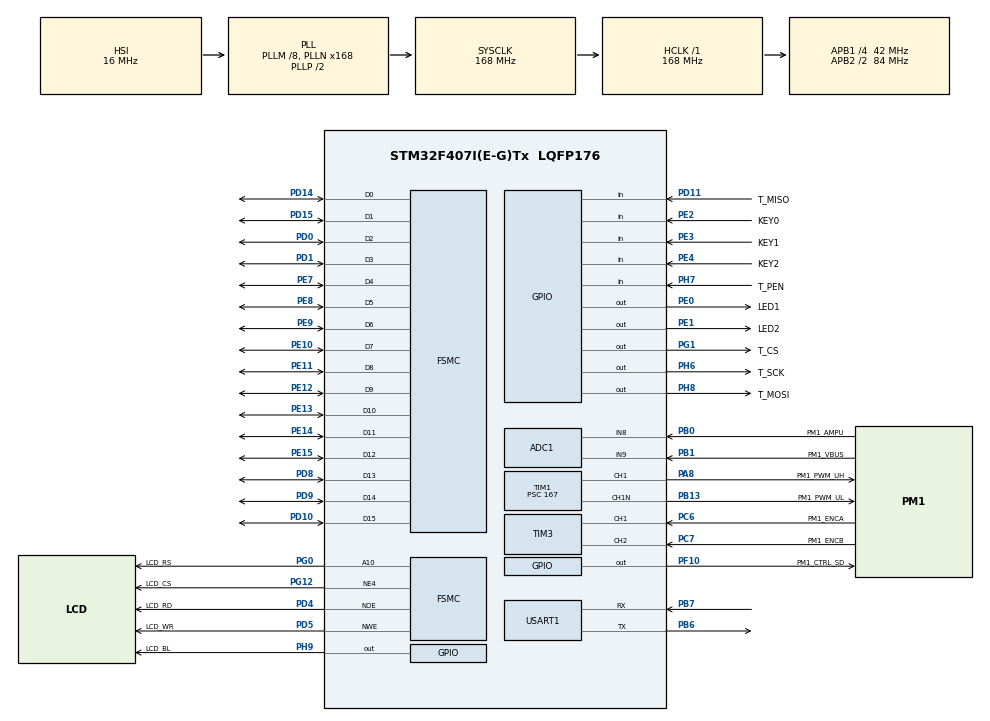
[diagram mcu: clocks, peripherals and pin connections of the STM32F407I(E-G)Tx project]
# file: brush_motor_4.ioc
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ADC1.Channel-0\#ChannelRegularConversion=ADC_CHANNEL_8
ADC1.Channel-1\#ChannelRegularConversion=ADC_CHANNEL_9
ADC1.ContinuousConvMode=ENABLE
ADC1.DMAContinuousRequests=ENABLE
ADC1.NbrOfConversion=2
ADC1.NbrOfConversionFlag=1
ADC1.Rank-0\#ChannelRegularConversion=1
ADC1.Rank-1\#ChannelRegularConversion=2
ADC1.SamplingTime-0\#ChannelRegularConversion=ADC_SAMPLETIME_480CYCLES
ADC1.SamplingTime-1\#ChannelRegularConversion=ADC_SAMPLETIME_480CYCLES
ADC1.ScanConvMode=ENABLE
ADC1.master=1
Dma.ADC1.0.Direction=DMA_PERIPH_TO_MEMORY
Dma.ADC1.0.FIFOMode=DMA_FIFOMODE_DISABLE
Dma.ADC1.0.Instance=DMA2_Stream0
Dma.ADC1.0.MemDataAlignment=DMA_MDATAALIGN_HALFWORD
Dma.ADC1.0.MemInc=DMA_MINC_ENABLE
Dma.ADC1.0.Mode=DMA_CIRCULAR
Dma.ADC1.0.PeriphDataAlignment=DMA_PDATAALIGN_HALFWORD
Dma.ADC1.0.PeriphInc=DMA_PINC_DISABLE
Dma.ADC1.0.Priority=DMA_PRIORITY_MEDIUM
Dma.Request0=ADC1
FSMC.AccessMode4=FSMC_ACCESS_MODE_A
FSMC.AddressSetupTime4=2
FSMC.BusTurnAroundDuration4=0
FSMC.DataSetupTime4=5
FSMC.ExtendedAccessMode4=FSMC_ACCESS_MODE_A
FSMC.ExtendedAddressSetupTime4=0
FSMC.ExtendedBusTurnAroundDuration4=0
FSMC.ExtendedDataSetupTime4=255
FSMC.ExtendedMode4=FSMC_EXTENDED_MODE_ENABLE
FSMC.NSBank4=FSMC_NORSRAM_BANK4
FSMC.WriteOperation4=FSMC_WRITE_OPERATION_ENABLE
Mcu.Family=STM32F4
Mcu.Name=STM32F407I(E-G)Tx
Mcu.Package=LQFP176
NVIC.ADC_IRQn=true\:2\:0\:true\:false\:true\:true\:true\:true
NVIC.DMA2_Stream0_IRQn=true\:0\:0\:false\:false\:true\:false\:true\:true
NVIC.PriorityGroup=NVIC_PRIORITYGROUP_4
NVIC.TIM3_IRQn=true\:2\:0\:true\:false\:true\:true\:true\:true
NVIC.TIM6_DAC_IRQn=true\:3\:0\:true\:false\:true\:true\:true\:true
PA13.Mode=Serial_Wire
PA13.Signal=SYS_JTMS-SWDIO
PA14.Mode=Serial_Wire
PA14.Signal=SYS_JTCK-SWCLK
PA8.GPIO_Label=PM1_PWM_UH
PA8.GPIO_PuPd=GPIO_PULLDOWN
PA8.GPIO_Speed=GPIO_SPEED_FREQ_HIGH
PA8.Signal=S_TIM1_CH1
PB0.GPIO_Label=PM1_AMPU
PB0.Signal=ADCx_IN8
PB1.GPIO_Label=PM1_VBUS
PB1.Signal=ADCx_IN9
PB13.GPIO_Label=PM1_PWM_UL
PB13.GPIO_PuPd=GPIO_PULLUP
PB13.GPIO_Speed=GPIO_SPEED_FREQ_HIGH
PB13.Mode=PWM Generation1 CH1 CH1N
PB13.Signal=TIM1_CH1N
PB6.Mode=Asynchronous
PB6.Signal=USART1_TX
PB7.Mode=Asynchronous
PB7.Signal=USART1_RX
PC14-OSC32_IN.Mode=LSE-External-Oscillator
PC14-OSC32_IN.Signal=RCC_OSC32_IN
PC15-OSC32_OUT.Mode=LSE-External-Oscillator
PC15-OSC32_OUT.Signal=RCC_OSC32_OUT
PC6.GPIO_Label=PM1_ENCA
PC6.GPIO_Speed=GPIO_SPEED_FREQ_HIGH
PC6.Signal=S_TIM3_CH1
PC7.GPIO_Label=PM1_ENCB
PC7.GPIO_Speed=GPIO_SPEED_FREQ_HIGH
PC7.Signal=S_TIM3_CH2
PD0.GPIO_PuPd=GPIO_PULLUP
PD0.Signal=FSMC_D2_DA2
PD1.GPIO_PuPd=GPIO_PULLUP
PD1.Signal=FSMC_D3_DA3
PD10.GPIO_PuPd=GPIO_PULLUP
PD10.Signal=FSMC_D15_DA15
PD11.GPIO_Label=T_MISO
PD11.Signal=GPIO_Input
PD14.GPIO_PuPd=GPIO_PULLUP
PD14.Signal=FSMC_D0_DA0
PD15.GPIO_PuPd=GPIO_PULLUP
PD15.Signal=FSMC_D1_DA1
PD4.GPIO_Label=LCD_RD
PD4.GPIO_PuPd=GPIO_PULLUP
PD4.Signal=FSMC_NOE
PD5.GPIO_Label=LCD_WR
PD5.GPIO_PuPd=GPIO_PULLUP
PD5.Signal=FSMC_NWE
PD8.GPIO_PuPd=GPIO_PULLUP
PD8.Signal=FSMC_D13_DA13
PD9.GPIO_PuPd=GPIO_PULLUP
PD9.Signal=FSMC_D14_DA14
PE0.GPIO_Label=LED1
PE0.PinState=GPIO_PIN_SET
PE0.Signal=GPIO_Output
PE1.GPIO_Label=LED2
PE1.PinState=GPIO_PIN_SET
PE1.Signal=GPIO_Output
PE10.GPIO_PuPd=GPIO_PULLUP
PE10.Signal=FSMC_D7_DA7
PE11.GPIO_PuPd=GPIO_PULLUP
PE11.Signal=FSMC_D8_DA8
PE12.GPIO_PuPd=GPIO_PULLUP
PE12.Signal=FSMC_D9_DA9
PE13.GPIO_PuPd=GPIO_PULLUP
PE13.Signal=FSMC_D10_DA10
PE14.GPIO_PuPd=GPIO_PULLUP
PE14.Signal=FSMC_D11_DA11
PE15.GPIO_PuPd=GPIO_PULLUP
PE15.Signal=FSMC_D12_DA12
PE2.GPIO_Label=KEY0
PE2.GPIO_PuPd=GPIO_PULLUP
PE2.Signal=GPIO_Input
PE3.GPIO_Label=KEY1
PE3.GPIO_PuPd=GPIO_PULLUP
PE3.Signal=GPIO_Input
PE4.GPIO_Label=KEY2
PE4.GPIO_PuPd=GPIO_PULLUP
PE4.Signal=GPIO_Input
PE7.GPIO_PuPd=GPIO_PULLUP
PE7.Signal=FSMC_D4_DA4
PE8.GPIO_PuPd=GPIO_PULLUP
PE8.Signal=FSMC_D5_DA5
PE9.GPIO_PuPd=GPIO_PULLUP
PE9.Signal=FSMC_D6_DA6
PF10.GPIO_Label=PM1_CTRL_SD
PF10.Signal=GPIO_Output
PG0.GPIO_Label=LCD_RS
PG0.GPIO_PuPd=GPIO_PULLUP
PG0.Signal=FSMC_A10
PG1.GPIO_Label=T_CS
PG1.Signal=GPIO_Output
PG12.GPIO_Label=LCD_CS
PG12.GPIO_PuPd=GPIO_PULLUP
PG12.Mode=NorPsramChipSelect4_4
PG12.Signal=FSMC_NE4
PH0-OSC_IN.Mode=HSE-External-Oscillator
PH0-OSC_IN.Signal=RCC_OSC_IN
PH1-OSC_OUT.Mode=HSE-External-Oscillator
PH1-OSC_OUT.Signal=RCC_OSC_OUT
PH6.GPIO_Label=T_SCK
PH6.Signal=GPIO_Output
PH7.GPIO_Label=T_PEN
PH7.Signal=GPIO_Input
PH8.GPIO_Label=T_MOSI
PH8.Signal=GPIO_Output
PH9.GPIO_Label=LCD_BL
PH9.Signal=GPIO_Output
ProjectManager.HeapSize=0x200
ProjectManager.StackSize=0x400
ProjectManager.TargetToolchain=MDK-ARM V5.27
RCC.48MHZClocksFreq_Value=84000000
RCC.AHBFreq_Value=168000000
RCC.APB1CLKDivider=RCC_HCLK_DIV4
RCC.APB1Freq_Value=42000000
RCC.APB1TimFreq_Value=84000000
RCC.APB2CLKDivider=RCC_HCLK_DIV2
RCC.APB2Freq_Value=84000000
RCC.APB2TimFreq_Value=168000000
RCC.CortexFreq_Value=168000000
RCC.FLatency=FLASH_LATENCY_5
RCC.HCLKFreq_Value=168000000
RCC.HSE_VALUE=25000000
RCC.HSI_VALUE=16000000
RCC.PLLM=8
RCC.PLLN=168
RCC.SYSCLKFreq_VALUE=168000000
RCC.SYSCLKSource=RCC_SYSCLKSOURCE_PLLCLK
RCC.VCOOutputFreq_Value=336000000
SH.ADCx_IN8.0=ADC1_IN8,IN8
SH.ADCx_IN9.0=ADC1_IN9,IN9
SH.FSMC_A10.0=FSMC_A10,A10_4
SH.FSMC_D0_DA0.0=FSMC_D0,16b-d4
SH.FSMC_D10_DA10.0=FSMC_D10,16b-d4
SH.FSMC_D11_DA11.0=FSMC_D11,16b-d4
SH.FSMC_D12_DA12.0=FSMC_D12,16b-d4
SH.FSMC_D13_DA13.0=FSMC_D13,16b-d4
SH.FSMC_D14_DA14.0=FSMC_D14,16b-d4
SH.FSMC_D15_DA15.0=FSMC_D15,16b-d4
SH.FSMC_D1_DA1.0=FSMC_D1,16b-d4
SH.FSMC_D2_DA2.0=FSMC_D2,16b-d4
SH.FSMC_D3_DA3.0=FSMC_D3,16b-d4
SH.FSMC_D4_DA4.0=FSMC_D4,16b-d4
SH.FSMC_D5_DA5.0=FSMC_D5,16b-d4
SH.FSMC_D6_DA6.0=FSMC_D6,16b-d4
SH.FSMC_D7_DA7.0=FSMC_D7,16b-d4
SH.FSMC_D8_DA8.0=FSMC_D8,16b-d4
SH.FSMC_D9_DA9.0=FSMC_D9,16b-d4
SH.FSMC_NOE.0=FSMC_NOE,Lcd4
SH.FSMC_NWE.0=FSMC_NWE,Lcd4
SH.S_TIM1_CH1.0=TIM1_CH1,PWM Generation1 CH1 CH1N
SH.S_TIM3_CH1.0=TIM3_CH1,Encoder_Interface
SH.S_TIM3_CH2.0=TIM3_CH2,Encoder_Interface
TIM1.Channel-PWM\ Generation1\ CH1\ CH1N=TIM_CHANNEL_1
TIM1.Period=999
TIM1.Prescaler=167
TIM3.EncoderMode=TIM_ENCODERMODE_TI12
TIM3.IC1Filter=0
TIM3.IC2Filter=0
TIM6.Period=999
TIM6.Prescaler=8399
USART1.VirtualMode=VM_ASYNC
VP_TIM1_VS_ClockSourceINT.Mode=Internal
VP_TIM6_VS_ClockSourceINT.Mode=Enable_Timer
board=custom

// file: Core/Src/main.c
/* USER CODE BEGIN Header */
/**
 ******************************************************************************
 * @file           : main.c
 * @brief          : Main program body
 ******************************************************************************
 * @attention
 *
 * Copyright (c) 2025 STMicroelectronics.
 * All rights reserved.
 *
 * This software is licensed under terms that can be found in the LICENSE file
 * in the root directory of this software component.
 * If no LICENSE file comes with this software, it is provided AS-IS.
 *
 ******************************************************************************
 */
/* USER CODE END Header */
#include "main.h"
#include "adc.h"
#include "dma.h"
#include "tim.h"
#include "usart.h"
#include "gpio.h"
#include "fsmc.h"

/* USER CODE BEGIN Includes */
#include <stdlib.h>
#include <stdio.h>
#include "bsp_lcd.h"
#include "bsp_key_led.h"
#include "bsp_brush_motor.h"
#include "bsp_encoder.h"
#include "bsp_current_sensor.h"
#include "bsp_voltage_sensor.h"
/* USER CODE END Includes */

/* USER CODE BEGIN PV */
// BrushMotorConfig pm2_motor = {
//     .htim = &htim8, // 使用TIM8作为电机控制定时器
//     .tim_channel = TIM_CHANNEL_1, // 使用通道1
//     .tim_arr = 1000,              // 自动重装载值，假设为1000
//     .sd_port = PM2_SD_GPIO_Port,  //
//     .sd_pin = PM2_SD_Pin          //
// };
BrushMotorConfig pm1_motor = {
    .htim = &htim1,                   // 使用TIM1作为电机控制定时器
    .tim_channel = TIM_CHANNEL_1,     // 使用通道1
    .tim_arr = 1000,                  // 自动重装载值，假设为1000
    .sd_port = PM1_CTRL_SD_GPIO_Port, // GPIOF
    .sd_pin = PM1_CTRL_SD_Pin         // PF10
};

// 电流传感器校准相关
static uint8_t current_calibrated = 0; // 校准完成标记（0：未校准，1：已校准）
static uint8_t calibrate_request = 0;  // 校准请求（0：无请求，1：需要校准）

extern uint16_t adc_raw_data[ADC_TOTAL_SAMPLES];    // 原始ADC采样值（单通道×采样次数）
extern float adc_filtered_data[ADC_CHANNEL_NUM];    // 滤波后的ADC平均值（浮点型）
/* USER CODE END PV */

void SystemClock_Config(void);

int main(void)
{

  /* MCU Configuration--------------------------------------------------------*/

  /* Reset of all peripherals, Initializes the Flash interface and the Systick. */
  HAL_Init();

  /* Configure the system clock */
  SystemClock_Config();

  /* Initialize all configured peripherals */
  MX_GPIO_Init();
  MX_DMA_Init();
  MX_FSMC_Init();
  MX_TIM1_Init();
  MX_TIM3_Init();
  MX_TIM6_Init();
  MX_USART1_UART_Init();
  MX_ADC1_Init();
  /* USER CODE BEGIN 2 */
  DWT_Init(); // 初始化DWT

  Key_Init();
  Led_Init();
  lcd_init();

  lcd_show_string(100, 10, 300, 32, 32, "Dr.GAO-Motor-1", RED);
  lcd_show_string(10, 60, 450, 24, 24, "Chap08: Brushed_Motor_Sensing", BLUE);

  BSP_Encoder_Init(); // 初始化编码器模块
  // 根据实际使用的编码器进行启动
  BSP_Encoder_Start(ENCODER_PM1); // 启动PM1编码器
  BrushMotor_Init(&pm1_motor);
  BSP_Encoder_Start(ENCODER_PM1); // 若编码器计数停止，启动编码器
  HAL_ADC_Start_DMA(&hadc1, (uint32_t*)adc_raw_data, ADC_TOTAL_SAMPLES); // 启动ADC1的DMA采集
  BSP_CurrentSensor_Init();
  BSP_VoltageSensor_Init();
  HAL_TIM_Base_Start_IT(&htim6); // 启动定时器6中断，用于更新EnCoder、电流采样等信息
  /* USER CODE END 2 */

  /* Infinite loop */
  /* USER CODE BEGIN WHILE */
  KeyPressedID key_id = KEY_None;
  int duty = 0;
  uint16_t send_cnt = 0;
  char buffer[50];
  while (1)
  {
    key_id = Key_Scan();
    if (key_id == KEY0_Pressed)
    {
      lcd_show_string(10, 90, 200, 24, 24, "key 0 pressed.", BLUE);
      Led_Toggle(LED1);
      duty += 10;
      if (duty > 100)
      {
        duty = 100;
      }
    }
    else if (key_id == KEY1_Pressed)
    {
      lcd_show_string(10, 90, 200, 24, 24, "key 1 pressed.", BLUE);
      Led_Toggle(LED2);

      duty -= 10;
      if (duty < -100)
      {
        duty = -100;
      }
    }
    else if (key_id == KEY2_Pressed)
    {
      lcd_show_string(10, 90, 200, 24, 24, "key 2 pressed.", BLUE);
      Led_Toggle(LED1);
      Led_Toggle(LED2);
      duty = 0;
      BSP_Encoder_Stop(ENCODER_PM1); // 停止编码器计数
      calibrate_request = 1; // 标记需要校准（在电机停止后执行）
    }
    else
    {
      lcd_show_string(10, 90, 200, 24, 24, "No key pressed.", BLUE);
    }

    if (duty == 0)
    {
      BrushMotor_Stop(); // 停止电机
      // 电机停止时，若未校准或收到校准请求，执行零漂校准
      if (current_calibrated == 0 || calibrate_request == 1)
      {
        lcd_show_string(10, 270, 300, 24, 24, "Calibrating current offset...", RED);
        BSP_CurrentSensor_CalibrateOffset(); // 执行校准
        current_calibrated = 1;              // 标记为已校准
        calibrate_request = 0;               // 清除请求
        lcd_show_string(10, 270, 300, 24, 24, "Current offset calibrated   ", GREEN);
      }
    }
    else
    {
      BrushMotor_SetDirection(duty > 0 ? MOTOR_FORWARD : MOTOR_REVERSE);
      BrushMotor_SetSpeed(abs(duty));
      BrushMotor_Enable();
      if (!BSP_Encoder_IsRunning(ENCODER_PM1))
      {
        BSP_Encoder_Start(ENCODER_PM1);
      }
    }

    sprintf(buffer, "PWM Duty: %d   ", duty);
    lcd_show_string(10, 120, 200, 24, 24, buffer, BLUE);

    /*测速代码*/
    // 读取编码器数据
    int32_t count1 = BSP_Encoder_GetCount(ENCODER_PM1);
    float rpm1 = BSP_Encoder_GetSpeedRPM(ENCODER_PM1);
    sprintf(buffer, "PM1_Pulses: %ld, RPM: %.1f   ", (long)count1, rpm1);
    lcd_show_string(10, 150, 400, 24, 24, buffer, BLUE);

    // 读取电流数据
    float current_ma = BSP_CurrentSensor_GetCurrent();
    sprintf(buffer, "Current: %.1f mA   ", current_ma);
    lcd_show_string(10, 180, 300, 24, 24, buffer, BLUE);

    // 读取电压值并显示
    float voltage_v = BSP_VoltageSensor_GetPowerVoltage();
    sprintf(buffer, "Voltage: %.1f V", voltage_v);
    lcd_show_string(10, 210, 300, 24, 24, buffer, BLUE);

    // 串口发送（每 500ms 一次）
    if (++send_cnt >= 10)
    { // 假设 while(1) 循环 ~50ms/次 → 10×50=500ms
      send_cnt = 0;
      sprintf(buffer, "PM1_Pulses: %ld, RPM: %.2f, Current: %.1f mA, Voltage: %.2f V\r\n",
              (long)count1, rpm1, current_ma, voltage_v);

      USART_SendString(buffer);
    }
    HAL_Delay(50);
    /* USER CODE END WHILE */

  }
}

void SystemClock_Config(void)
{
  RCC_OscInitTypeDef RCC_OscInitStruct = {0};
  RCC_ClkInitTypeDef RCC_ClkInitStruct = {0};

  /** Configure the main internal regulator output voltage
  */
  __HAL_RCC_PWR_CLK_ENABLE();
  __HAL_PWR_VOLTAGESCALING_CONFIG(PWR_REGULATOR_VOLTAGE_SCALE1);

  /** Initializes the RCC Oscillators according to the specified parameters
  * in the RCC_OscInitTypeDef structure.
  */
  RCC_OscInitStruct.OscillatorType = RCC_OSCILLATORTYPE_HSI;
  RCC_OscInitStruct.HSIState = RCC_HSI_ON;
  RCC_OscInitStruct.HSICalibrationValue = RCC_HSICALIBRATION_DEFAULT;
  RCC_OscInitStruct.PLL.PLLState = RCC_PLL_ON;
  RCC_OscInitStruct.PLL.PLLSource = RCC_PLLSOURCE_HSI;
  RCC_OscInitStruct.PLL.PLLM = 8;
  RCC_OscInitStruct.PLL.PLLN = 168;
  RCC_OscInitStruct.PLL.PLLP = RCC_PLLP_DIV2;
  RCC_OscInitStruct.PLL.PLLQ = 4;
  if (HAL_RCC_OscConfig(&RCC_OscInitStruct) != HAL_OK)
  {
    Error_Handler();
  }

  /** Initializes the CPU, AHB and APB buses clocks
  */
  RCC_ClkInitStruct.ClockType = RCC_CLOCKTYPE_HCLK|RCC_CLOCKTYPE_SYSCLK
                              |RCC_CLOCKTYPE_PCLK1|RCC_CLOCKTYPE_PCLK2;
  RCC_ClkInitStruct.SYSCLKSource = RCC_SYSCLKSOURCE_PLLCLK;
  RCC_ClkInitStruct.AHBCLKDivider = RCC_SYSCLK_DIV1;
  RCC_ClkInitStruct.APB1CLKDivider = RCC_HCLK_DIV4;
  RCC_ClkInitStruct.APB2CLKDivider = RCC_HCLK_DIV2;

  if (HAL_RCC_ClockConfig(&RCC_ClkInitStruct, FLASH_LATENCY_5) != HAL_OK)
  {
    Error_Handler();
  }
}

/* USER CODE BEGIN 4 */
// 中断回调函数
void HAL_TIM_PeriodElapsedCallback(TIM_HandleTypeDef *htim)
{
  if (htim->Instance == TIM3 || htim->Instance == TIM2)
  {
    BSP_Encoder_HandleOverflow(htim);
  }
  else if (htim->Instance == TIM6)
  {
    BSP_Encoder_UpdateSpeed();  // 更新转速计算
    BSP_CurrentSensor_Update(); // 更新电流检测结果
    BSP_VoltageSensor_Update(); // 更新电压检测结果
  }
}

/* USER CODE END 4 */

void Error_Handler(void)
{
  __disable_irq();
  while (1)
  {
  }
}
